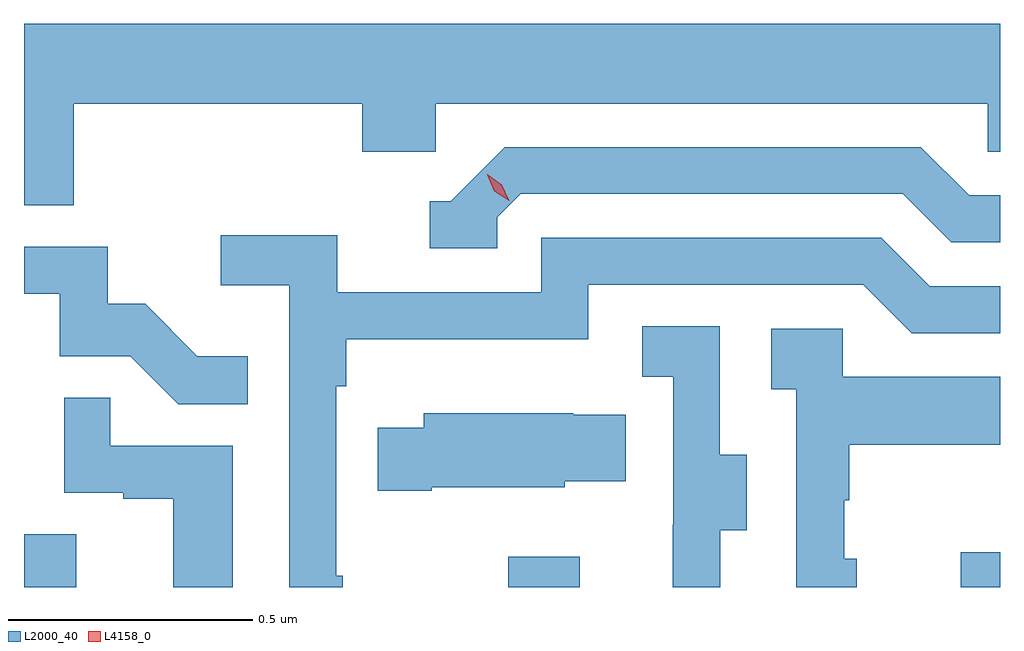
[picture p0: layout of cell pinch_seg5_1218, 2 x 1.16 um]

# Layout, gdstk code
import gdstk
lib = gdstk.Library(unit=1e-6, precision=1e-09)
def R(c, l, rs):  # rectangles x0, y0, x1, y1
    for r in rs: c.add(gdstk.rectangle(r[:2], r[2:], *l))
def P(c, l, *ps):  # polygons
    for p in ps: c.add(gdstk.Polygon(p, *l))
L2000_40 = (2000, 40)
L4158_0 = (4158, 0)

pinch_seg5_1218 = lib.new_cell('pinch_seg5_1218')
R(pinch_seg5_1218, L2000_40, [(831.056,835.789,831.163,835.898), (832.048,835.789,832.195,835.852), (832.976,835.789,833.056,835.861)])
P(pinch_seg5_1218, L2000_40, [(831.158,836.78),(831.749,836.78),(831.749,836.682),(831.9,836.682),(831.9,836.78),(833.031,836.78),(833.031,836.682),(833.056,836.682),(833.056,836.944),(831.056,836.944),(831.056,836.572),(831.158,836.572)],
  [(832.026,836.547),(832.074,836.595),(832.857,836.595),(832.956,836.496),(833.056,836.496),(833.056,836.592),(832.993,836.592),(832.894,836.691),(832.041,836.691),(831.93,836.58),(831.887,836.58),(831.887,836.484),(832.026,836.484)],
  [(831.709,835.813),(831.696,835.813),(831.696,836.201),(831.716,836.201),(831.716,836.297),(832.212,836.297),(832.212,836.409),(832.776,836.409),(832.875,836.31),(833.056,836.31),(833.056,836.406),(832.912,836.406),(832.813,836.505),(832.116,836.505),(832.116,836.394),(831.698,836.394),(831.698,836.51),(831.459,836.51),(831.459,836.408),(831.6,836.408),(831.6,835.789),(831.709,835.789)],
  [(831.515,836.263),(831.411,836.263),(831.304,836.37),(831.228,836.37),(831.228,836.487),(831.056,836.487),(831.056,836.391),(831.129,836.391),(831.129,836.262),(831.274,836.262),(831.372,836.164),(831.515,836.164)],
  [(832.483,835.906),(832.537,835.906),(832.537,836.061),(832.482,836.061),(832.482,836.324),(832.323,836.324),(832.323,836.221),(832.386,836.221),(832.386,835.917),(832.385,835.917),(832.385,835.789),(832.483,835.789)],
  [(832.762,835.848),(832.737,835.848),(832.737,835.967),(832.747,835.967),(832.747,836.081),(833.056,836.081),(833.056,836.221),(832.734,836.221),(832.734,836.319),(832.587,836.319),(832.587,836.195),(832.638,836.195),(832.638,835.789),(832.762,835.789)],
  [(831.484,836.079),(831.233,836.079),(831.233,836.177),(831.138,836.177),(831.138,835.983),(831.259,835.983),(831.259,835.971),(831.362,835.971),(831.362,835.789),(831.484,835.789)],
  [(831.892,835.994),(832.164,835.994),(832.164,836.006),(832.289,836.006),(832.289,836.143),(832.181,836.143),(832.181,836.146),(831.875,836.146),(831.875,836.116),(831.781,836.116),(831.781,835.987),(831.892,835.987)])
P(pinch_seg5_1218, L4158_0, [(832.05,836.581),(832.02,836.601),(832.005,836.634),(832.005,836.635),(832.005,836.635),(832.035,836.614),(832.05,836.581),(832.05,836.581)])

lib.write_gds('pinch_seg5_1218.gds')
